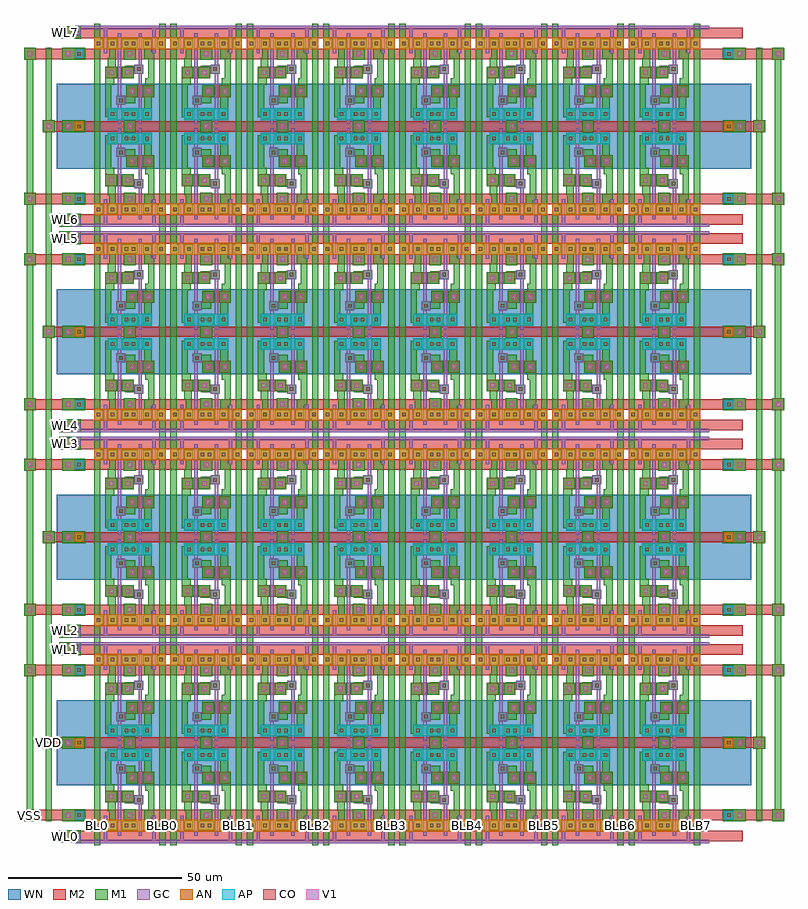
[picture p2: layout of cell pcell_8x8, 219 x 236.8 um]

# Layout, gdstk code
import gdstk
lib = gdstk.Library(unit=1e-6, precision=5e-08)
def R(c, l, rs):  # rectangles x0, y0, x1, y1
    for r in rs: c.add(gdstk.rectangle(r[:2], r[2:], *l))
def A(c, l, x, y, w, h, nx, ny, dx, dy):  # array of equal rectangles
    R(c, l, [(x+i*dx, y+j*dy, x+i*dx+w, y+j*dy+h) for i in range(nx) for j in range(ny)])
AP = (3, 1)
AN = (3, 2)
GC = (8, 1)
CO = (11, 0)
M1 = (13, 0)
V1 = (19, 0)
M2 = (20, 0)
WN = (140, 0)

fet_n = lib.new_cell('fet_n')
R(fet_n, AN, [(-3.3,-1.7,3.3,1.7)])
R(fet_n, CO, [(-2.5,-0.5,-1.5,0.5), (1.5,-0.5,2.5,0.5)])
R(fet_n, M1, [(-3.3,-1.3,-0.7,1.3), (0.7,-1.3,3.3,1.3)])
fet_n.add(gdstk.FlexPath([(0,-2.9),(0,2.9)], 1, ends="flush", simple_path=True, layer=8, datatype=1))  # GC

fet_p = lib.new_cell('fet_p')
R(fet_p, AP, [(-3.3,-1.7,3.3,1.7)])
R(fet_p, CO, [(-2.5,-0.5,-1.5,0.5), (1.5,-0.5,2.5,0.5)])
R(fet_p, M1, [(-3.3,-1.3,-0.7,1.3), (0.7,-1.3,3.3,1.3)])
fet_p.add(gdstk.FlexPath([(0,-2.9),(0,2.9)], 1, ends="flush", simple_path=True, layer=8, datatype=1))  # GC

via_1 = lib.new_cell('via_1')
R(via_1, M1, [(-1.7,-1.7,1.7,1.7)])
R(via_1, V1, [(-0.7,-0.7,0.7,0.7)])
R(via_1, M2, [(-1.7,-1.7,1.7,1.7)])

cont_g = lib.new_cell('cont_g')
R(cont_g, GC, [(-1.3,-1.3,1.3,1.3)])
R(cont_g, CO, [(-0.5,-0.5,0.5,0.5)])
R(cont_g, M1, [(-1.3,-1.3,1.3,1.3)])

pcell_core = lib.new_cell('pcell_core')
R(pcell_core, GC, [(0,-5.1,22,-4.1), (1.5,-5.1,2.5,-2.4), (15.5,-5.1,16.5,-2.4), (5.5,2.4,6.5,18), (11.5,2.4,12.5,18), (11.1,6.9,12.5,7.9), (5.5,15.9,6.9,16.9)])
R(pcell_core, M1, [(-1.3,-5.7,0.5,23.9), (17.5,-5.7,19.3,23.9), (3.1,-0.9,4.9,5.9), (8.1,-0.9,9.9,3.9), (13.1,-0.9,14.9,4.5), (14.9,1.3,15.3,2.7), (13.1,2.7,16.1,4.5), (14.3,2.7,16.1,11.9), (2.7,4.1,4.9,5.9), (2.7,4.1,4.5,11.9), (4.5,5.9,4.9,6.7), (7.5,6.5,9.3,9.3), (7.5,6.5,12.5,8.3), (10.1,8.3,10.3,8.7), (1.9,10.1,4.5,11.9), (1.9,10.1,3.7,21.3), (13.5,10.1,16.1,11.9), (13.5,10.1,15.3,18.7), (15.3,11.9,16.1,12.1), (8.7,12.9,10.5,17.3), (7.7,15.1,7.9,15.5), (5.5,15.5,10.5,17.3), (13.1,15.5,13.5,16.9), (13.1,16.9,15.3,18.7), (13.1,16.9,14.9,21.3), (14.9,18.7,15.3,19.1), (1.9,19.5,4.9,21.3), (8.1,19.5,9.9,24.8), (7.3,21.7,8.1,22.2), (9.9,21.7,10.7,22.2)])
R(pcell_core, M2, [(0,-4.5,22,-1.5), (0,1.5,22,4.5), (1.9,6.7,10.1,10.1), (7.9,12.1,16.1,15.5), (0,22.4,22,25.4)])
R(pcell_core, WN, [(-3.5,11.7,25.5,29.1)])
pcell_core.add(gdstk.Reference(fet_n, (2,0)))
pcell_core.add(gdstk.Reference(fet_n, (6,0)))
pcell_core.add(gdstk.Reference(fet_n, (12,0)))
pcell_core.add(gdstk.Reference(fet_n, (16,0)))
pcell_core.add(gdstk.Reference(fet_p, (6,20.4)))
pcell_core.add(gdstk.Reference(fet_p, (12,20.4)))
pcell_core.add(gdstk.Reference(via_1, (9,3)))
pcell_core.add(gdstk.Reference(via_1, (9,23.9)))
pcell_core.add(gdstk.Reference(via_1, (3.6,8.4)))
pcell_core.add(gdstk.Reference(via_1, (8.4,8.4)))
pcell_core.add(gdstk.Reference(cont_g, (11.6,7.4)))
pcell_core.add(gdstk.Reference(via_1, (14.4,13.8)))
pcell_core.add(gdstk.Reference(via_1, (9.6,13.8)))
pcell_core.add(gdstk.Reference(cont_g, (6.4,16.4)))

cont_n = lib.new_cell('cont_n')
R(cont_n, AN, [(-1.3,-1.3,1.3,1.3)])
R(cont_n, CO, [(-0.5,-0.5,0.5,0.5)])
R(cont_n, M1, [(-1.3,-1.3,1.3,1.3)])

cont_p = lib.new_cell('cont_p')
R(cont_p, AP, [(-1.3,-1.3,1.3,1.3)])
R(cont_p, CO, [(-0.5,-0.5,0.5,0.5)])
R(cont_p, M1, [(-1.3,-1.3,1.3,1.3)])

pcell_8x8 = lib.new_cell('pcell_8x8')
R(pcell_8x8, GC, [(-6.9,0.6,-5.9,2.5), (-6.4,0.6,0,1.6), (-6.9,56.7,-5.9,58.6), (-6.4,57.6,0,58.6), (-6.9,59.8,-5.9,61.7), (-6.4,59.8,0,60.8), (-6.9,115.9,-5.9,117.8), (-6.4,116.8,0,117.8), (-6.9,119,-5.9,120.9), (-6.4,119,0,120), (-6.9,175.1,-5.9,177), (-6.4,176,0,177), (-6.9,178.2,-5.9,180.1), (-6.4,178.2,0,179.2), (-6.9,234.3,-5.9,236.2), (-6.4,235.2,0,236.2)])
A(pcell_8x8, M1, -10.5, 7, 6.6, 3.4, 1, 3, 0, 20.9)
A(pcell_8x8, M1, 179.9, 7, 6.6, 3.4, 1, 3, 0, 20.9)
A(pcell_8x8, M1, -10.5, 66.2, 6.6, 3.4, 1, 3, 0, 20.9)
A(pcell_8x8, M1, 179.9, 66.2, 6.6, 3.4, 1, 3, 0, 20.9)
A(pcell_8x8, M1, -10.5, 125.4, 6.6, 3.4, 1, 3, 0, 20.9)
A(pcell_8x8, M1, 179.9, 125.4, 6.6, 3.4, 1, 3, 0, 20.9)
A(pcell_8x8, M1, -10.5, 184.6, 6.6, 3.4, 1, 3, 0, 20.9)
A(pcell_8x8, M1, 179.9, 184.6, 6.6, 3.4, 1, 3, 0, 20.9)
R(pcell_8x8, M1, [(-11.3,0.7,-5.1,4.4), (-20.7,7,-18.9,229.8), (-15.3,7,-13.5,229.8), (189.5,7,191.3,229.8), (194.9,7,196.7,229.8), (-11.3,54.8,-5.1,58.5), (-11.3,59.9,-5.1,63.6), (-11.3,114,-5.1,117.7), (-11.3,119.1,-5.1,122.8), (-11.3,173.2,-5.1,176.9), (-11.3,178.3,-5.1,182), (-11.3,232.4,-5.1,236.1)])
A(pcell_8x8, M2, -16.1, 28.1, 193.8, 3, 1, 4, 0, 59.2)
A(pcell_8x8, M2, -1.7, 28.1, 193.8, 3, 1, 4, 0, 59.2)
R(pcell_8x8, M2, [(-9.6,1.2,185.6,4.2), (-21.5,7.2,177.7,10.2), (-1.7,7.2,197.5,10.2), (-21.5,49,177.7,52), (-1.7,49,197.5,52), (-9.6,55,185.6,58), (-9.6,60.4,185.6,63.4), (-21.5,66.4,177.7,69.4), (-1.7,66.4,197.5,69.4), (-21.5,108.2,177.7,111.2), (-1.7,108.2,197.5,111.2), (-9.6,114.2,185.6,117.2), (-9.6,119.6,185.6,122.6), (-21.5,125.6,177.7,128.6), (-1.7,125.6,197.5,128.6), (-21.5,167.4,177.7,170.4), (-1.7,167.4,197.5,170.4), (-9.6,173.4,185.6,176.4), (-9.6,178.8,185.6,181.8), (-21.5,184.8,177.7,187.8), (-1.7,184.8,197.5,187.8), (-21.5,226.6,177.7,229.6), (-1.7,226.6,197.5,229.6), (-9.6,232.6,185.6,235.6)])
A(pcell_8x8, WN, -12, 17.4, 200, 24.4, 1, 4, 0, 59.2)
A(pcell_8x8, WN, 0, 17.4, 188, 24.4, 1, 4, 0, 59.2)
pcell_8x8.add(gdstk.Reference(pcell_core, (66,5.7)))
pcell_8x8.add(gdstk.Reference(pcell_core, (88,5.7)))
pcell_8x8.add(gdstk.Reference(pcell_core, (66,53.5), x_reflection=True))
pcell_8x8.add(gdstk.Reference(pcell_core, (88,53.5), x_reflection=True))
pcell_8x8.add(gdstk.Reference(pcell_core, (66,64.9)))
pcell_8x8.add(gdstk.Reference(pcell_core, (88,64.9)))
pcell_8x8.add(gdstk.Reference(pcell_core, (66,112.7), x_reflection=True))
pcell_8x8.add(gdstk.Reference(pcell_core, (88,112.7), x_reflection=True))
pcell_8x8.add(gdstk.Reference(pcell_core, (66,124.1)))
pcell_8x8.add(gdstk.Reference(pcell_core, (88,124.1)))
pcell_8x8.add(gdstk.Reference(pcell_core, (66,171.9), x_reflection=True))
pcell_8x8.add(gdstk.Reference(pcell_core, (88,171.9), x_reflection=True))
pcell_8x8.add(gdstk.Reference(pcell_core, (66,183.3)))
pcell_8x8.add(gdstk.Reference(pcell_core, (88,183.3)))
pcell_8x8.add(gdstk.Reference(pcell_core, (66,231.1), x_reflection=True))
pcell_8x8.add(gdstk.Reference(pcell_core, (88,231.1), x_reflection=True))
pcell_8x8.add(gdstk.Reference(pcell_core, (132,171.9), x_reflection=True))
pcell_8x8.add(gdstk.Reference(pcell_core, (154,171.9), x_reflection=True))
pcell_8x8.add(gdstk.Reference(pcell_core, (154,124.1)))
pcell_8x8.add(gdstk.Reference(pcell_core, (110,124.1)))
pcell_8x8.add(gdstk.Reference(pcell_core, (110,183.3)))
pcell_8x8.add(gdstk.Reference(pcell_core, (132,183.3)))
pcell_8x8.add(gdstk.Reference(pcell_core, (154,183.3)))
pcell_8x8.add(gdstk.Reference(pcell_core, (132,124.1)))
pcell_8x8.add(gdstk.Reference(pcell_core, (110,171.9), x_reflection=True))
pcell_8x8.add(gdstk.Reference(pcell_core, (110,231.1), x_reflection=True))
pcell_8x8.add(gdstk.Reference(pcell_core, (132,231.1), x_reflection=True))
pcell_8x8.add(gdstk.Reference(pcell_core, (154,231.1), x_reflection=True))
pcell_8x8.add(gdstk.Reference(cont_n, (181.6,148)))
pcell_8x8.add(gdstk.Reference(via_1, (184.8,148)))
pcell_8x8.add(gdstk.Reference(via_1, (190.4,148)))
pcell_8x8.add(gdstk.Reference(cont_n, (181.6,207.2)))
pcell_8x8.add(gdstk.Reference(via_1, (184.8,207.2)))
pcell_8x8.add(gdstk.Reference(via_1, (190.4,207.2)))
pcell_8x8.add(gdstk.Reference(cont_p, (181.6,127.1)))
pcell_8x8.add(gdstk.Reference(via_1, (184.8,127.1)))
pcell_8x8.add(gdstk.Reference(via_1, (195.8,127.1)))
pcell_8x8.add(gdstk.Reference(cont_p, (181.6,168.9)))
pcell_8x8.add(gdstk.Reference(via_1, (184.8,168.9)))
pcell_8x8.add(gdstk.Reference(via_1, (195.8,168.9)))
pcell_8x8.add(gdstk.Reference(cont_p, (181.6,186.3)))
pcell_8x8.add(gdstk.Reference(via_1, (184.8,186.3)))
pcell_8x8.add(gdstk.Reference(via_1, (195.8,186.3)))
pcell_8x8.add(gdstk.Reference(cont_p, (181.6,228.1)))
pcell_8x8.add(gdstk.Reference(via_1, (184.8,228.1)))
pcell_8x8.add(gdstk.Reference(via_1, (195.8,228.1)))
pcell_8x8.add(gdstk.Reference(cont_g, (-6.4,234.8)))
pcell_8x8.add(gdstk.Reference(via_1, (-9.6,234.1)))
pcell_8x8.add(gdstk.Reference(cont_n, (-5.6,148)))
pcell_8x8.add(gdstk.Reference(via_1, (-8.8,148)))
pcell_8x8.add(gdstk.Reference(via_1, (-14.4,148)))
pcell_8x8.add(gdstk.Reference(cont_n, (-5.6,207.2)))
pcell_8x8.add(gdstk.Reference(via_1, (-8.8,207.2)))
pcell_8x8.add(gdstk.Reference(via_1, (-14.4,207.2)))
pcell_8x8.add(gdstk.Reference(cont_p, (-5.6,127.1)))
pcell_8x8.add(gdstk.Reference(via_1, (-8.8,127.1)))
pcell_8x8.add(gdstk.Reference(via_1, (-19.8,127.1)))
pcell_8x8.add(gdstk.Reference(cont_p, (-5.6,168.9)))
pcell_8x8.add(gdstk.Reference(via_1, (-8.8,168.9)))
pcell_8x8.add(gdstk.Reference(via_1, (-19.8,168.9)))
pcell_8x8.add(gdstk.Reference(cont_p, (-5.6,186.3)))
pcell_8x8.add(gdstk.Reference(via_1, (-8.8,186.3)))
pcell_8x8.add(gdstk.Reference(via_1, (-19.8,186.3)))
pcell_8x8.add(gdstk.Reference(cont_p, (-5.6,228.1)))
pcell_8x8.add(gdstk.Reference(via_1, (-8.8,228.1)))
pcell_8x8.add(gdstk.Reference(via_1, (-19.8,228.1)))
pcell_8x8.add(gdstk.Reference(pcell_core, (0,183.3)))
pcell_8x8.add(gdstk.Reference(pcell_core, (22,183.3)))
pcell_8x8.add(gdstk.Reference(pcell_core, (44,183.3)))
pcell_8x8.add(gdstk.Reference(pcell_core, (0,171.9), x_reflection=True))
pcell_8x8.add(gdstk.Reference(pcell_core, (22,171.9), x_reflection=True))
pcell_8x8.add(gdstk.Reference(pcell_core, (44,171.9), x_reflection=True))
pcell_8x8.add(gdstk.Reference(pcell_core, (44,124.1)))
pcell_8x8.add(gdstk.Reference(pcell_core, (0,124.1)))
pcell_8x8.add(gdstk.Reference(cont_g, (-6.4,179.6)))
pcell_8x8.add(gdstk.Reference(via_1, (-9.6,180.3)))
pcell_8x8.add(gdstk.Reference(pcell_core, (0,231.1), x_reflection=True))
pcell_8x8.add(gdstk.Reference(pcell_core, (22,231.1), x_reflection=True))
pcell_8x8.add(gdstk.Reference(pcell_core, (44,231.1), x_reflection=True))
pcell_8x8.add(gdstk.Reference(pcell_core, (22,124.1)))
pcell_8x8.add(gdstk.Reference(cont_g, (-6.4,120.4)))
pcell_8x8.add(gdstk.Reference(via_1, (-9.6,121.1)))
pcell_8x8.add(gdstk.Reference(cont_g, (-6.4,175.6)))
pcell_8x8.add(gdstk.Reference(via_1, (-9.6,174.9)))
pcell_8x8.add(gdstk.Reference(via_1, (-8.8,50.5)))
pcell_8x8.add(gdstk.Reference(via_1, (-19.8,50.5)))
pcell_8x8.add(gdstk.Reference(cont_p, (-5.6,67.9)))
pcell_8x8.add(gdstk.Reference(via_1, (-8.8,67.9)))
pcell_8x8.add(gdstk.Reference(via_1, (-19.8,67.9)))
pcell_8x8.add(gdstk.Reference(cont_p, (-5.6,109.7)))
pcell_8x8.add(gdstk.Reference(via_1, (-8.8,109.7)))
pcell_8x8.add(gdstk.Reference(via_1, (-19.8,109.7)))
pcell_8x8.add(gdstk.Reference(pcell_core, (0,64.9)))
pcell_8x8.add(gdstk.Reference(pcell_core, (22,64.9)))
pcell_8x8.add(gdstk.Reference(pcell_core, (44,64.9)))
pcell_8x8.add(gdstk.Reference(pcell_core, (22,5.7)))
pcell_8x8.add(gdstk.Reference(cont_g, (-6.4,2)))
pcell_8x8.add(gdstk.Reference(cont_g, (-6.4,61.2)))
pcell_8x8.add(gdstk.Reference(via_1, (-9.6,61.9)))
pcell_8x8.add(gdstk.Reference(pcell_core, (0,112.7), x_reflection=True))
pcell_8x8.add(gdstk.Reference(pcell_core, (22,112.7), x_reflection=True))
pcell_8x8.add(gdstk.Reference(pcell_core, (44,112.7), x_reflection=True))
pcell_8x8.add(gdstk.Reference(via_1, (-9.6,2.7)))
pcell_8x8.add(gdstk.Reference(pcell_core, (0,53.5), x_reflection=True))
pcell_8x8.add(gdstk.Reference(cont_g, (-6.4,116.4)))
pcell_8x8.add(gdstk.Reference(via_1, (-9.6,115.7)))
pcell_8x8.add(gdstk.Reference(cont_n, (-5.6,29.6)))
pcell_8x8.add(gdstk.Reference(via_1, (-8.8,29.6)))
pcell_8x8.add(gdstk.Reference(via_1, (-14.4,29.6)))
pcell_8x8.add(gdstk.Reference(cont_n, (-5.6,88.8)))
pcell_8x8.add(gdstk.Reference(via_1, (-8.8,88.8)))
pcell_8x8.add(gdstk.Reference(via_1, (-14.4,88.8)))
pcell_8x8.add(gdstk.Reference(pcell_core, (22,53.5), x_reflection=True))
pcell_8x8.add(gdstk.Reference(pcell_core, (44,53.5), x_reflection=True))
pcell_8x8.add(gdstk.Reference(pcell_core, (44,5.7)))
pcell_8x8.add(gdstk.Reference(pcell_core, (0,5.7)))
pcell_8x8.add(gdstk.Reference(cont_g, (-6.4,57.2)))
pcell_8x8.add(gdstk.Reference(via_1, (-9.6,56.5)))
pcell_8x8.add(gdstk.Reference(cont_p, (-5.6,8.7)))
pcell_8x8.add(gdstk.Reference(via_1, (-8.8,8.7)))
pcell_8x8.add(gdstk.Reference(via_1, (-19.8,8.7)))
pcell_8x8.add(gdstk.Reference(cont_p, (-5.6,50.5)))
pcell_8x8.add(gdstk.Reference(pcell_core, (154,53.5), x_reflection=True))
pcell_8x8.add(gdstk.Reference(pcell_core, (132,5.7)))
pcell_8x8.add(gdstk.Reference(pcell_core, (110,64.9)))
pcell_8x8.add(gdstk.Reference(pcell_core, (110,112.7), x_reflection=True))
pcell_8x8.add(gdstk.Reference(pcell_core, (132,112.7), x_reflection=True))
pcell_8x8.add(gdstk.Reference(pcell_core, (154,112.7), x_reflection=True))
pcell_8x8.add(gdstk.Reference(cont_p, (181.6,8.7)))
pcell_8x8.add(gdstk.Reference(via_1, (184.8,8.7)))
pcell_8x8.add(gdstk.Reference(via_1, (195.8,8.7)))
pcell_8x8.add(gdstk.Reference(cont_p, (181.6,50.5)))
pcell_8x8.add(gdstk.Reference(via_1, (184.8,50.5)))
pcell_8x8.add(gdstk.Reference(via_1, (195.8,50.5)))
pcell_8x8.add(gdstk.Reference(cont_p, (181.6,67.9)))
pcell_8x8.add(gdstk.Reference(via_1, (184.8,67.9)))
pcell_8x8.add(gdstk.Reference(via_1, (195.8,67.9)))
pcell_8x8.add(gdstk.Reference(cont_p, (181.6,109.7)))
pcell_8x8.add(gdstk.Reference(via_1, (184.8,109.7)))
pcell_8x8.add(gdstk.Reference(via_1, (195.8,109.7)))
pcell_8x8.add(gdstk.Reference(pcell_core, (132,64.9)))
pcell_8x8.add(gdstk.Reference(pcell_core, (154,64.9)))
pcell_8x8.add(gdstk.Reference(pcell_core, (154,5.7)))
pcell_8x8.add(gdstk.Reference(pcell_core, (110,5.7)))
pcell_8x8.add(gdstk.Reference(pcell_core, (110,53.5), x_reflection=True))
pcell_8x8.add(gdstk.Reference(pcell_core, (132,53.5), x_reflection=True))
pcell_8x8.add(gdstk.Reference(cont_n, (181.6,29.6)))
pcell_8x8.add(gdstk.Reference(via_1, (184.8,29.6)))
pcell_8x8.add(gdstk.Reference(via_1, (190.4,29.6)))
pcell_8x8.add(gdstk.Reference(cont_n, (181.6,88.8)))
pcell_8x8.add(gdstk.Reference(via_1, (184.8,88.8)))
pcell_8x8.add(gdstk.Reference(via_1, (190.4,88.8)))
pcell_8x8.add(gdstk.Label('WL0', (-9.6,2.7), layer=49, texttype=0))
pcell_8x8.add(gdstk.Label('WL1', (-9.6,56.5), layer=49, texttype=0))
pcell_8x8.add(gdstk.Label('WL2', (-9.6,61.9), layer=49, texttype=0))
pcell_8x8.add(gdstk.Label('WL3', (-9.6,115.7), layer=49, texttype=0))
pcell_8x8.add(gdstk.Label('WL4', (-9.6,121.1), layer=49, texttype=0))
pcell_8x8.add(gdstk.Label('WL5', (-9.6,174.9), layer=49, texttype=0))
pcell_8x8.add(gdstk.Label('WL6', (-9.6,180.3), layer=49, texttype=0))
pcell_8x8.add(gdstk.Label('WL7', (-9.6,234.1), layer=49, texttype=0))
pcell_8x8.add(gdstk.Label('VDD', (-14.4,29.6), layer=48, texttype=0))
pcell_8x8.add(gdstk.Label('VSS', (-19.8,8.7), layer=48, texttype=0))
pcell_8x8.add(gdstk.Label('BL0', (-0.4,5.7), layer=48, texttype=0))
pcell_8x8.add(gdstk.Label('BLB0', (18.4,5.7), layer=48, texttype=0))
pcell_8x8.add(gdstk.Label('BL1', (21.6,5.7), layer=48, texttype=0))
pcell_8x8.add(gdstk.Label('BLB1', (40.4,5.7), layer=48, texttype=0))
pcell_8x8.add(gdstk.Label('BL2', (43.6,5.7), layer=48, texttype=0))
pcell_8x8.add(gdstk.Label('BLB2', (62.4,5.7), layer=48, texttype=0))
pcell_8x8.add(gdstk.Label('BL3', (65.6,5.7), layer=48, texttype=0))
pcell_8x8.add(gdstk.Label('BLB3', (84.4,5.7), layer=48, texttype=0))
pcell_8x8.add(gdstk.Label('BL4', (87.6,5.7), layer=48, texttype=0))
pcell_8x8.add(gdstk.Label('BLB4', (106.4,5.7), layer=48, texttype=0))
pcell_8x8.add(gdstk.Label('BL5', (109.6,5.7), layer=48, texttype=0))
pcell_8x8.add(gdstk.Label('BLB5', (128.4,5.7), layer=48, texttype=0))
pcell_8x8.add(gdstk.Label('BL6', (131.6,5.7), layer=48, texttype=0))
pcell_8x8.add(gdstk.Label('BLB6', (150.4,5.7), layer=48, texttype=0))
pcell_8x8.add(gdstk.Label('BL7', (153.6,5.7), layer=48, texttype=0))
pcell_8x8.add(gdstk.Label('BLB7', (172.4,5.7), layer=48, texttype=0))

lib.write_gds('pcell_8x8.gds')
